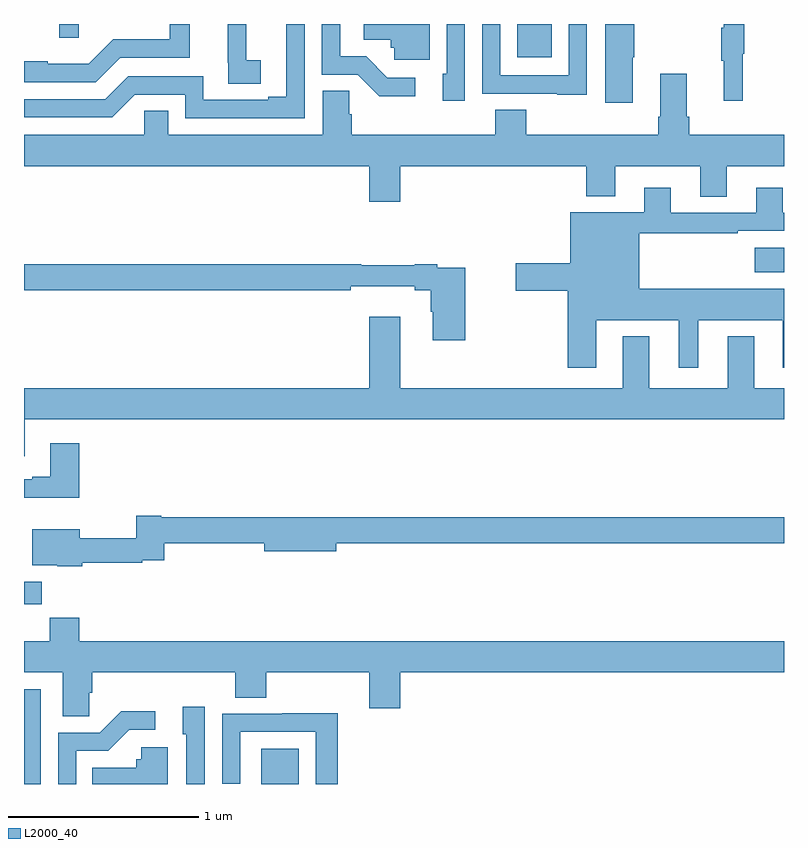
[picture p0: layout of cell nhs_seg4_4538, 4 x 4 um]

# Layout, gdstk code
import gdstk
lib = gdstk.Library(unit=1e-6, precision=1e-09)
def R(c, l, rs):  # rectangles x0, y0, x1, y1
    for r in rs: c.add(gdstk.rectangle(r[:2], r[2:], *l))
def P(c, l, *ps):  # polygons
    for p in ps: c.add(gdstk.Polygon(p, *l))
L2000_40 = (2000, 40)

nhs_seg4_4538 = lib.new_cell('nhs_seg4_4538')
R(nhs_seg4_4538, L2000_40, [(355,794.9,355.089,795.399), (356.249,794.9,356.446,795.085), (355,795.846,355.094,795.964), (358.845,797.594,359,797.722), (357.596,798.725,357.778,798.9), (355.186,798.828,355.287,798.9)])
P(nhs_seg4_4538, L2000_40, [(357.963,798.9),(357.867,798.9),(357.867,798.63),(357.507,798.63),(357.507,798.9),(357.411,798.9),(357.411,798.534),(357.807,798.534),(357.807,798.527),(357.963,798.527)],
  [(357.058,798.618),(356.913,798.618),(356.802,798.729),(356.664,798.729),(356.664,798.9),(356.568,798.9),(356.568,798.633),(356.757,798.633),(356.87,798.521),(357.058,798.521)],
  [(356.245,798.708),(356.171,798.708),(356.171,798.9),(356.072,798.9),(356.072,798.697),(356.074,798.697),(356.074,798.586),(356.245,798.586)],
  [(355.506,798.723),(355.873,798.723),(355.873,798.9),(355.766,798.9),(355.766,798.819),(355.47,798.819),(355.342,798.691),(355.124,798.691),(355.124,798.703),(355,798.703),(355,798.594),(355.377,798.594)],
  [(358.784,798.744),(358.792,798.744),(358.792,798.9),(358.682,798.9),(358.682,798.881),(358.671,798.881),(358.671,798.707),(358.682,798.707),(358.682,798.495),(358.784,798.495)],
  [(358.204,798.724),(358.212,798.724),(358.212,798.9),(358.058,798.9),(358.058,798.486),(358.204,798.486)],
  [(356.478,798.9),(356.381,798.9),(356.381,798.516),(356.285,798.516),(356.285,798.501),(355.944,798.501),(355.944,798.624),(355.548,798.624),(355.428,798.504),(355,798.504),(355,798.408),(355.464,798.408),(355.584,798.528),(355.848,798.528),(355.848,798.405),(356.478,798.405)],
  [(357.321,798.9),(357.225,798.9),(357.225,798.639),(357.203,798.639),(357.203,798.495),(357.321,798.495)],
  [(357.136,798.9),(356.787,798.9),(356.787,798.818),(356.931,798.818),(356.931,798.774),(356.949,798.774),(356.949,798.711),(357.136,798.711)],
  [(356.98,798.152),(357.959,798.152),(357.959,797.993),(358.111,797.993),(358.111,798.152),(358.559,798.152),(358.559,797.992),(358.699,797.992),(358.699,798.152),(359,798.152),(359,798.316),(358.502,798.316),(358.502,798.412),(358.489,798.412),(358.489,798.637),(358.349,798.637),(358.349,798.412),(358.337,798.412),(358.337,798.316),(357.644,798.316),(357.644,798.449),(357.479,798.449),(357.479,798.316),(356.726,798.316),(356.726,798.425),(356.712,798.425),(356.712,798.548),(356.573,798.548),(356.573,798.316),(355.759,798.316),(355.759,798.443),(355.632,798.443),(355.632,798.316),(355,798.316),(355,798.152),(356.816,798.152),(356.816,797.964),(356.98,797.964)],
  [(358.012,797.342),(358.445,797.342),(358.445,797.091),(358.549,797.091),(358.549,797.342),(358.994,797.342),(358.994,797.091),(359,797.091),(359,797.506),(358.237,797.506),(358.237,797.799),(358.757,797.799),(358.757,797.811),(359,797.811),(359,797.907),(358.993,797.907),(358.993,798.037),(358.853,798.037),(358.853,797.907),(358.405,797.907),(358.405,798.037),(358.265,798.037),(358.265,797.908),(357.875,797.908),(357.875,797.642),(357.588,797.642),(357.588,797.495),(357.863,797.495),(357.863,797.091),(358.012,797.091)],
  [(357.323,797.616),(357.176,797.616),(357.176,797.636),(357.056,797.636),(357.056,797.629),(356.776,797.629),(356.776,797.636),(355,797.636),(355,797.5),(356.72,797.5),(356.72,797.519),(357.056,797.519),(357.056,797.5),(357.14,797.5),(357.14,797.385),(357.152,797.385),(357.152,797.235),(357.323,797.235)],
  [(355.003,796.82),(359,796.82),(359,796.984),(358.843,796.984),(358.843,797.257),(358.703,797.257),(358.703,796.984),(358.291,796.984),(358.291,797.257),(358.151,797.257),(358.151,796.984),(356.98,796.984),(356.98,797.359),(356.816,797.359),(356.816,796.984),(355,796.984),(355,796.626),(355.003,796.626)],
  [(355.292,796.693),(355.139,796.693),(355.139,796.516),(355.043,796.516),(355.043,796.503),(355,796.503),(355,796.406),(355.292,796.406)],
  [(355.307,796.065),(355.622,796.065),(355.622,796.077),(355.739,796.077),(355.739,796.168),(356.264,796.168),(356.264,796.126),(356.644,796.126),(356.644,796.168),(359,796.168),(359,796.304),(355.722,796.304),(355.722,796.312),(355.591,796.312),(355.591,796.193),(355.294,796.193),(355.294,796.24),(355.043,796.24),(355.043,796.052),(355.176,796.052),(355.176,796.046),(355.307,796.046)],
  [(355.344,795.379),(355.358,795.379),(355.358,795.488),(356.111,795.488),(356.111,795.355),(356.276,795.355),(356.276,795.488),(356.816,795.488),(356.816,795.3),(356.98,795.3),(356.98,795.488),(359,795.488),(359,795.652),(355.292,795.652),(355.292,795.776),(355.135,795.776),(355.135,795.652),(355,795.652),(355,795.488),(355.205,795.488),(355.205,795.256),(355.344,795.256)],
  [(355.95,795.307),(355.835,795.307),(355.835,795.162),(355.854,795.162),(355.854,794.9),(355.95,794.9)],
  [(355.275,795.075),(355.444,795.075),(355.555,795.186),(355.69,795.186),(355.69,795.284),(355.511,795.284),(355.398,795.171),(355.179,795.171),(355.179,794.9),(355.275,794.9)],
  [(356.651,795.272),(356.359,795.272),(356.359,795.27),(356.043,795.27),(356.043,794.901),(356.139,794.901),(356.139,795.174),(356.535,795.174),(356.535,794.9),(356.651,794.9)],
  [(355.756,795.094),(355.617,795.094),(355.617,795.03),(355.591,795.03),(355.591,794.986),(355.36,794.986),(355.36,794.9),(355.756,794.9)])

lib.write_gds('nhs_seg4_4538.gds')
